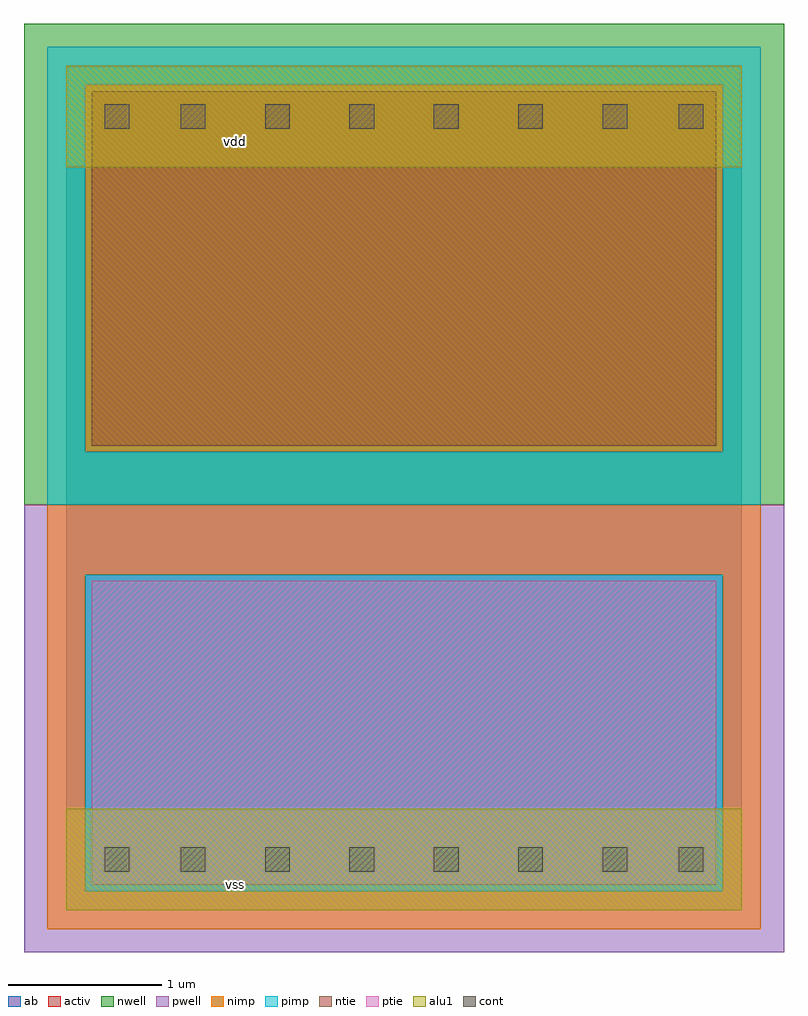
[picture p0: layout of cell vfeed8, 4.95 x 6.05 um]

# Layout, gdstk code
import gdstk
lib = gdstk.Library(unit=1e-6, precision=2.5e-09)
def R(c, l, rs):  # rectangles x0, y0, x1, y1
    for r in rs: c.add(gdstk.rectangle(r[:2], r[2:], *l))
def A(c, l, x, y, w, h, nx, ny, dx, dy):  # array of equal rectangles
    R(c, l, [(x+i*dx, y+j*dy, x+i*dx+w, y+j*dy+h) for i in range(nx) for j in range(ny)])
ntie = (5, 0)
ptie = (6, 0)
cont = (25, 0)
pwell = (41, 0)
nwell = (42, 0)
activ = (43, 0)
pimp = (44, 0)
nimp = (45, 0)
alu1 = (49, 0)
ab = (63, 0)

vfeed8 = lib.new_cell('vfeed8')
R(vfeed8, ntie, [(0.165,3.025,4.235,5.335)])
R(vfeed8, ptie, [(0.165,0.165,4.235,2.145)])
A(vfeed8, cont, 0.745, 0.25, 0.16, 0.16, 6, 2, 0.55, 4.84)
R(vfeed8, cont, [(0.25,0.25,0.41,0.41), (3.99,0.25,4.15,0.41), (0.25,5.09,0.41,5.25), (3.99,5.09,4.15,5.25)])
R(vfeed8, pwell, [(-0.275,-0.275,4.675,2.64)])
R(vfeed8, nwell, [(-0.275,2.64,4.675,5.775)])
R(vfeed8, activ, [(0.165,0.165,4.235,2.145), (0.165,3.025,4.235,5.335)])
R(vfeed8, pimp, [(0.125,0.125,4.275,2.185), (-0.125,2.64,4.525,2.985), (-0.125,2.985,0.125,5.375), (4.275,2.985,4.525,5.375), (-0.125,5.375,4.525,5.625)])
R(vfeed8, nimp, [(-0.125,-0.125,4.525,0.125), (-0.125,0.125,0.125,2.185), (4.275,0.125,4.525,2.185), (-0.125,2.185,4.525,2.64), (0.125,2.985,4.275,5.375)])
R(vfeed8, alu1, [(0,0,4.4,0.66), (0,4.84,4.4,5.5)])
R(vfeed8, ab, [(0,0,4.4,5.5)])
vfeed8.add(gdstk.Label('vss', (1.1,0.165), layer=49, texttype=0))
vfeed8.add(gdstk.Label('vdd', (1.1,5.005), layer=49, texttype=0))

lib.write_gds('vfeed8.gds')
